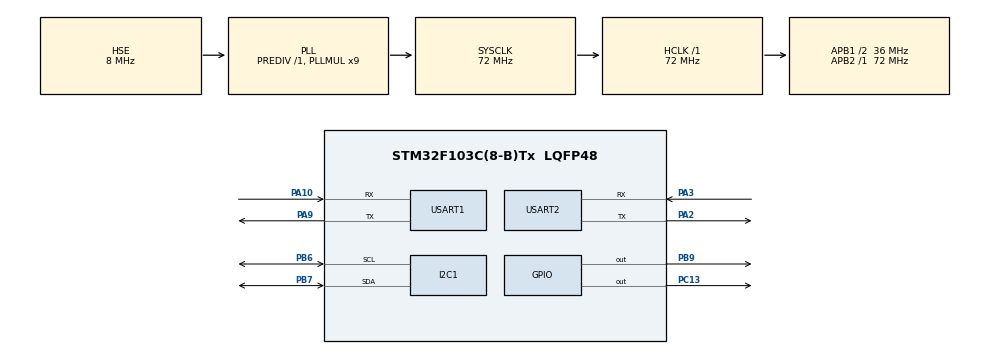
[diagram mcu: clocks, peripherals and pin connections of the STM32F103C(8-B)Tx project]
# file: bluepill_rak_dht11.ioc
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I2C1.I2C_Mode=I2C_Fast
Mcu.Family=STM32F1
Mcu.Name=STM32F103C(8-B)Tx
Mcu.Package=LQFP48
NVIC.PriorityGroup=NVIC_PRIORITYGROUP_4
PA10.Mode=Asynchronous
PA10.Signal=USART1_RX
PA13.Mode=Serial_Wire
PA13.Signal=SYS_JTMS-SWDIO
PA14.Mode=Serial_Wire
PA14.Signal=SYS_JTCK-SWCLK
PA2.Mode=Asynchronous
PA2.Signal=USART2_TX
PA3.Mode=Asynchronous
PA3.Signal=USART2_RX
PA9.Mode=Asynchronous
PA9.Signal=USART1_TX
PB6.Mode=I2C
PB6.Signal=I2C1_SCL
PB7.Mode=I2C
PB7.Signal=I2C1_SDA
PB9.Signal=GPIO_Output
PC13-TAMPER-RTC.Signal=GPIO_Output
PD0-OSC_IN.Mode=HSE-External-Oscillator
PD0-OSC_IN.Signal=RCC_OSC_IN
PD1-OSC_OUT.Mode=HSE-External-Oscillator
PD1-OSC_OUT.Signal=RCC_OSC_OUT
ProjectManager.HeapSize=0x200
ProjectManager.StackSize=0x400
ProjectManager.TargetToolchain=STM32CubeIDE
RCC.AHBFreq_Value=72000000
RCC.APB1CLKDivider=RCC_HCLK_DIV2
RCC.APB1Freq_Value=36000000
RCC.APB1TimFreq_Value=72000000
RCC.APB2Freq_Value=72000000
RCC.APB2TimFreq_Value=72000000
RCC.HCLKFreq_Value=72000000
RCC.PLLMUL=RCC_PLL_MUL9
RCC.PLLSourceVirtual=RCC_PLLSOURCE_HSE
RCC.SYSCLKFreq_VALUE=72000000
RCC.SYSCLKSource=RCC_SYSCLKSOURCE_PLLCLK
RCC.USBFreq_Value=72000000
TIM1.Prescaler=71
USART1.VirtualMode=VM_ASYNC
USART2.VirtualMode=VM_ASYNC
VP_TIM1_VS_ClockSourceINT.Mode=Internal
board=custom

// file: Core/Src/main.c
/* USER CODE BEGIN Header */
/**
  ******************************************************************************
  * @file           : main.c
  * @brief          : Main program body
  ******************************************************************************
  * @attention
  *
  * Copyright (c) 2026 STMicroelectronics.
  * All rights reserved.
  *
  * This software is licensed under terms that can be found in the LICENSE file
  * in the root directory of this software component.
  * If no LICENSE file comes with this software, it is provided AS-IS.
  *
  ******************************************************************************
  */
/* USER CODE END Header */
#include "main.h"
#include "dht11.h"
#include "comandosAT.h"
#include "string.h"
#include "stdio.h"

I2C_HandleTypeDef hi2c1;

TIM_HandleTypeDef htim1;

UART_HandleTypeDef huart1;
UART_HandleTypeDef huart2;

/* USER CODE BEGIN PV */
// Intervalos
#define INTERVALO_DHT   2000  // Leer sensor cada 2s
#define INTERVALO_CHECK 5000  // Verificar Join cada 5s
#define INTERVALO_SEND  15000 // Enviar datos cada 15s
char bufferAT[64];
uint8_t RHI, RHD, TCI , TCD, SUM ;
float tCelsius= 0 ;
float RH= 0 ;
uint8_t TFI=0 ;
uint8_t TFD= 0;
/* USER CODE END PV */

void SystemClock_Config(void);
static void MX_GPIO_Init(void);
static void MX_I2C1_Init(void);
static void MX_TIM1_Init(void);
static void MX_USART1_UART_Init(void);
static void MX_USART2_UART_Init(void);

/* USER CODE BEGIN 0 */
/* Variables para el control del tiempo */
uint32_t last_time_dht = 0;
uint32_t last_time_rak_check = 0;
uint32_t last_time_send = 0;
/*Funcion para enviar datos al rak en hexadecimal concatenados */
void Rak_EnviaDatos(int datoint , float humdty , float temp){

	uint8_t idByte=(uint8_t)datoint;
	int16_t humint=(int16_t)(humdty*100);
	int16_t tempint=(int16_t)(temp*100);

	snprintf(bufferAT,sizeof(bufferAT),"AT+SEND=3:%02X%04X%04x\r\n",idByte,humint,tempint);

	RAK_sendCmd(bufferAT, 2000);
}
/* USER CODE END 0 */

int main(void)
{

  /* MCU Configuration--------------------------------------------------------*/

  /* Reset of all peripherals, Initializes the Flash interface and the Systick. */
  HAL_Init();

  /* Configure the system clock */
  SystemClock_Config();

  /* Initialize all configured peripherals */
  MX_GPIO_Init();
  MX_I2C1_Init();
  MX_TIM1_Init();
  MX_USART1_UART_Init();
  MX_USART2_UART_Init();
  /* USER CODE BEGIN 2 */
  HAL_TIM_Base_Start_IT(&htim1);

  init_Rak(); // INICIALIZAMOS EL RAK
  int val_adc=0;
  // Inicializamos temporizadores
    uint32_t current_time = HAL_GetTick();
    last_time_dht = current_time;
    last_time_rak_check = current_time;
    last_time_send = current_time;
  /* USER CODE END 2 */

  /* Infinite loop */
  while (1)
  {
	  current_time = HAL_GetTick(); // Hora actual en milisegundos
	  /*------Lectura del Sensor--*/
	  if (current_time - last_time_dht >= INTERVALO_DHT)
	        {
	            last_time_dht = current_time;

	            if(DHT11_Start()) {
	               RHI = DHT11_Read(); // Relative humidity integral
	               RHD = DHT11_Read(); // Relative humidity decimal
	               TCI = DHT11_Read(); // Celsius integral
	               TCD = DHT11_Read(); // Celsius decimal
	               SUM = DHT11_Read(); // Check sum
	                 if (RHI + RHD + TCI + TCD == SUM)
	            		{
	            		  tCelsius = (float)TCI + (float)(TCD/10.0);
	            		  RH = (float)RHI + (float)(RHD/10.0);
	                    }
	            }
	        }
	  if (Check_Join_Status() == 0)
	        {
	            // AUN NO ESTAMOS UNIDOS
	            // Verificamos estado cada 5 segundos
	            if (current_time - last_time_rak_check >= INTERVALO_CHECK) {
	                last_time_rak_check = current_time;
	                // La función Check_Join_Status ya hace la consulta AT+NJS=?
	                HAL_UART_Transmit(&huart2, (uint8_t*)"Esperando Join...\r\n", 19, 100);
	            }
	        }
	  else {
          // YA ESTAMOS UNIDOS (flag_joined == 1)
          // Ahora sí podemos enviar datos cada 15 segundos
          if (current_time - last_time_send >= INTERVALO_SEND) {
              last_time_send = current_time;

              HAL_UART_Transmit(&huart2, (uint8_t*)"--- Enviando Datos ---\r\n", 24, 100);
              Rak_EnviaDatos(val_adc, RH, tCelsius);
              val_adc++; // Incrementamos contador
              HAL_GPIO_TogglePin(GPIOC, GPIO_PIN_13);
          }
      }

	  if(val_adc > 255) val_adc=0;

  }
}

void SystemClock_Config(void)
{
  RCC_OscInitTypeDef RCC_OscInitStruct = {0};
  RCC_ClkInitTypeDef RCC_ClkInitStruct = {0};

  /** Initializes the RCC Oscillators according to the specified parameters
  * in the RCC_OscInitTypeDef structure.
  */
  RCC_OscInitStruct.OscillatorType = RCC_OSCILLATORTYPE_HSE;
  RCC_OscInitStruct.HSEState = RCC_HSE_ON;
  RCC_OscInitStruct.HSEPredivValue = RCC_HSE_PREDIV_DIV1;
  RCC_OscInitStruct.HSIState = RCC_HSI_ON;
  RCC_OscInitStruct.PLL.PLLState = RCC_PLL_ON;
  RCC_OscInitStruct.PLL.PLLSource = RCC_PLLSOURCE_HSE;
  RCC_OscInitStruct.PLL.PLLMUL = RCC_PLL_MUL9;
  if (HAL_RCC_OscConfig(&RCC_OscInitStruct) != HAL_OK)
  {
    Error_Handler();
  }

  /** Initializes the CPU, AHB and APB buses clocks
  */
  RCC_ClkInitStruct.ClockType = RCC_CLOCKTYPE_HCLK|RCC_CLOCKTYPE_SYSCLK
                              |RCC_CLOCKTYPE_PCLK1|RCC_CLOCKTYPE_PCLK2;
  RCC_ClkInitStruct.SYSCLKSource = RCC_SYSCLKSOURCE_PLLCLK;
  RCC_ClkInitStruct.AHBCLKDivider = RCC_SYSCLK_DIV1;
  RCC_ClkInitStruct.APB1CLKDivider = RCC_HCLK_DIV2;
  RCC_ClkInitStruct.APB2CLKDivider = RCC_HCLK_DIV1;

  if (HAL_RCC_ClockConfig(&RCC_ClkInitStruct, FLASH_LATENCY_2) != HAL_OK)
  {
    Error_Handler();
  }
}

static void MX_I2C1_Init(void)
{

  hi2c1.Instance = I2C1;
  hi2c1.Init.ClockSpeed = 400000;
  hi2c1.Init.DutyCycle = I2C_DUTYCYCLE_2;
  hi2c1.Init.OwnAddress1 = 0;
  hi2c1.Init.AddressingMode = I2C_ADDRESSINGMODE_7BIT;
  hi2c1.Init.DualAddressMode = I2C_DUALADDRESS_DISABLE;
  hi2c1.Init.OwnAddress2 = 0;
  hi2c1.Init.GeneralCallMode = I2C_GENERALCALL_DISABLE;
  hi2c1.Init.NoStretchMode = I2C_NOSTRETCH_DISABLE;
  if (HAL_I2C_Init(&hi2c1) != HAL_OK)
  {
    Error_Handler();
  }

}

static void MX_TIM1_Init(void)
{

  TIM_ClockConfigTypeDef sClockSourceConfig = {0};
  TIM_MasterConfigTypeDef sMasterConfig = {0};

  htim1.Instance = TIM1;
  htim1.Init.Prescaler = 71;
  htim1.Init.CounterMode = TIM_COUNTERMODE_UP;
  htim1.Init.Period = 65535;
  htim1.Init.ClockDivision = TIM_CLOCKDIVISION_DIV1;
  htim1.Init.RepetitionCounter = 0;
  htim1.Init.AutoReloadPreload = TIM_AUTORELOAD_PRELOAD_DISABLE;
  if (HAL_TIM_Base_Init(&htim1) != HAL_OK)
  {
    Error_Handler();
  }
  sClockSourceConfig.ClockSource = TIM_CLOCKSOURCE_INTERNAL;
  if (HAL_TIM_ConfigClockSource(&htim1, &sClockSourceConfig) != HAL_OK)
  {
    Error_Handler();
  }
  sMasterConfig.MasterOutputTrigger = TIM_TRGO_RESET;
  sMasterConfig.MasterSlaveMode = TIM_MASTERSLAVEMODE_DISABLE;
  if (HAL_TIMEx_MasterConfigSynchronization(&htim1, &sMasterConfig) != HAL_OK)
  {
    Error_Handler();
  }

}

static void MX_USART1_UART_Init(void)
{

  huart1.Instance = USART1;
  huart1.Init.BaudRate = 115200;
  huart1.Init.WordLength = UART_WORDLENGTH_8B;
  huart1.Init.StopBits = UART_STOPBITS_1;
  huart1.Init.Parity = UART_PARITY_NONE;
  huart1.Init.Mode = UART_MODE_TX_RX;
  huart1.Init.HwFlowCtl = UART_HWCONTROL_NONE;
  huart1.Init.OverSampling = UART_OVERSAMPLING_16;
  if (HAL_UART_Init(&huart1) != HAL_OK)
  {
    Error_Handler();
  }

}

static void MX_USART2_UART_Init(void)
{

  huart2.Instance = USART2;
  huart2.Init.BaudRate = 115200;
  huart2.Init.WordLength = UART_WORDLENGTH_8B;
  huart2.Init.StopBits = UART_STOPBITS_1;
  huart2.Init.Parity = UART_PARITY_NONE;
  huart2.Init.Mode = UART_MODE_TX_RX;
  huart2.Init.HwFlowCtl = UART_HWCONTROL_NONE;
  huart2.Init.OverSampling = UART_OVERSAMPLING_16;
  if (HAL_UART_Init(&huart2) != HAL_OK)
  {
    Error_Handler();
  }

}

static void MX_GPIO_Init(void)
{
  GPIO_InitTypeDef GPIO_InitStruct = {0};

  /* GPIO Ports Clock Enable */
  __HAL_RCC_GPIOC_CLK_ENABLE();
  __HAL_RCC_GPIOD_CLK_ENABLE();
  __HAL_RCC_GPIOA_CLK_ENABLE();
  __HAL_RCC_GPIOB_CLK_ENABLE();

  /*Configure GPIO pin Output Level */
  HAL_GPIO_WritePin(GPIOC, GPIO_PIN_13, GPIO_PIN_RESET);

  /*Configure GPIO pin Output Level */
  HAL_GPIO_WritePin(GPIOB, GPIO_PIN_9, GPIO_PIN_RESET);

  /*Configure GPIO pin : PC13 */
  GPIO_InitStruct.Pin = GPIO_PIN_13;
  GPIO_InitStruct.Mode = GPIO_MODE_OUTPUT_PP;
  GPIO_InitStruct.Pull = GPIO_NOPULL;
  GPIO_InitStruct.Speed = GPIO_SPEED_FREQ_LOW;
  HAL_GPIO_Init(GPIOC, &GPIO_InitStruct);

  /*Configure GPIO pin : PB9 */
  GPIO_InitStruct.Pin = GPIO_PIN_9;
  GPIO_InitStruct.Mode = GPIO_MODE_OUTPUT_PP;
  GPIO_InitStruct.Pull = GPIO_NOPULL;
  GPIO_InitStruct.Speed = GPIO_SPEED_FREQ_LOW;
  HAL_GPIO_Init(GPIOB, &GPIO_InitStruct);

}

void Error_Handler(void)
{
  __disable_irq();
  while (1)
  {
  }
}
